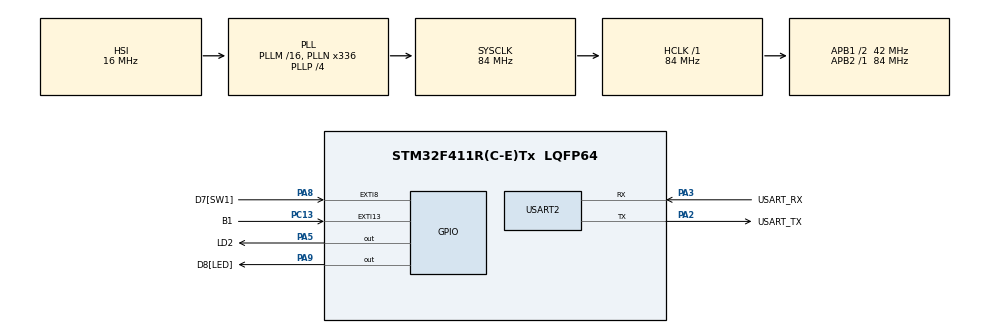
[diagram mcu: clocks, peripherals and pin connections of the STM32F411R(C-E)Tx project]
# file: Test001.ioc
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Mcu.Family=STM32F4
Mcu.Name=STM32F411R(C-E)Tx
Mcu.Package=LQFP64
NVIC.EXTI15_10_IRQn=true\:0\:0\:false\:false\:true\:true\:true\:true
NVIC.EXTI9_5_IRQn=true\:0\:0\:false\:false\:true\:true\:true\:true
NVIC.PriorityGroup=NVIC_PRIORITYGROUP_0
PA13.GPIO_Label=TMS
PA13.Mode=Serial_Wire
PA13.Signal=SYS_JTMS-SWDIO
PA14.GPIO_Label=TCK
PA14.Mode=Serial_Wire
PA14.Signal=SYS_JTCK-SWCLK
PA2.GPIO_Label=USART_TX
PA2.Mode=Asynchronous
PA2.Signal=USART2_TX
PA3.GPIO_Label=USART_RX
PA3.Mode=Asynchronous
PA3.Signal=USART2_RX
PA5.GPIO_Label=LD2 
PA5.Signal=GPIO_Output
PA8.GPIO_Label=D7[SW1]
PA8.Signal=GPXTI8
PA9.GPIO_Label=D8[LED]
PA9.Signal=GPIO_Output
PB3.GPIO_Label=SWO
PB3.Signal=SYS_JTDO-SWO
PC13-ANTI_TAMP.GPIO_Label=B1
PC13-ANTI_TAMP.GPIO_ModeDefaultEXTI=GPIO_MODE_IT_RISING
PC13-ANTI_TAMP.Signal=GPXTI13
PC14-OSC32_IN.Mode=LSE-External-Oscillator
PC14-OSC32_IN.Signal=RCC_OSC32_IN
PC15-OSC32_OUT.Mode=LSE-External-Oscillator
PC15-OSC32_OUT.Signal=RCC_OSC32_OUT
PH0\ -\ OSC_IN.Mode=HSE-External-Clock-Source
PH0\ -\ OSC_IN.Signal=RCC_OSC_IN
PH1\ -\ OSC_OUT.Mode=HSE-External-Clock-Source
PH1\ -\ OSC_OUT.Signal=RCC_OSC_OUT
ProjectManager.HeapSize=0x200
ProjectManager.StackSize=0x400
ProjectManager.TargetToolchain=STM32CubeIDE
RCC.48MHZClocksFreq_Value=84000000
RCC.AHBFreq_Value=84000000
RCC.APB1CLKDivider=RCC_HCLK_DIV2
RCC.APB1Freq_Value=42000000
RCC.APB1TimFreq_Value=84000000
RCC.APB2Freq_Value=84000000
RCC.APB2TimFreq_Value=84000000
RCC.CortexFreq_Value=84000000
RCC.FLatency-AdvancedSettings=FLASH_LATENCY_2
RCC.HCLKFreq_Value=84000000
RCC.HSE_VALUE=8000000
RCC.HSI_VALUE=16000000
RCC.PLLN=336
RCC.PLLP=RCC_PLLP_DIV4
RCC.SYSCLKFreq_VALUE=84000000
RCC.SYSCLKSource=RCC_SYSCLKSOURCE_PLLCLK
RCC.VCOOutputFreq_Value=336000000
USART2.VirtualMode=VM_ASYNC
board=NUCLEO-F411RE

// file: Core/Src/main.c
/* USER CODE BEGIN Header */
/**
  ******************************************************************************
  * @file           : main.c
  * @brief          : Main program body
  ******************************************************************************
  * @attention
  *
  * Copyright (c) 2024 STMicroelectronics.
  * All rights reserved.
  *
  * This software is licensed under terms that can be found in the LICENSE file
  * in the root directory of this software component.
  * If no LICENSE file comes with this software, it is provided AS-IS.
  *
  ******************************************************************************
  */
/* USER CODE END Header */
#include "main.h"

/* USER CODE BEGIN Includes */
#include <stdio.h>
/* USER CODE END Includes */

UART_HandleTypeDef huart2;

void SystemClock_Config(void);
static void MX_GPIO_Init(void);
static void MX_USART2_UART_Init(void);

/* USER CODE BEGIN 0 */
void StandBy()
{
	while(HAL_GPIO_ReadPin(B1_GPIO_Port,B1_Pin));
}

volatile int t=1000;
int mode=0;// mode=0 : Stop, mode=1 : Flash

void HAL_GPIO_EXTI_Callback(uint16_t GPIO_Pin)//ISR
{

	switch(GPIO_Pin)
	{
		case B1_Pin:
			mode = (mode)?0:1;
			break;
		case D7_Pin:
			t=(t<200)?1000:(t-200);
			break;
	}

}
/* USER CODE END 0 */

int main(void)
{

  /* MCU Configuration--------------------------------------------------------*/

  /* Reset of all peripherals, Initializes the Flash interface and the Systick. */
  HAL_Init();

  /* Configure the system clock */
  SystemClock_Config();

  /* Initialize all configured peripherals */
  MX_GPIO_Init();
  MX_USART2_UART_Init();
  /* USER CODE BEGIN 2 */
  StandBy();

  //HAL_GPIO_WritePin(GPIOA,GPIO_PIN_5,1);

  /* USER CODE END 2 */

  /* Infinite loop */
  while (1)
  {

    /* USER CODE BEGIN 3 */
	  if(mode)
	  {
		HAL_GPIO_WritePin(D8_GPIO_Port,D8_Pin,1);
		HAL_Delay(t);
		HAL_GPIO_WritePin(D8_GPIO_Port,D8_Pin,0);
		HAL_Delay(t);
	  }
  }
  /* USER CODE END 3 */
}

void SystemClock_Config(void)
{
  RCC_OscInitTypeDef RCC_OscInitStruct = {0};
  RCC_ClkInitTypeDef RCC_ClkInitStruct = {0};

  /** Configure the main internal regulator output voltage
  */
  __HAL_RCC_PWR_CLK_ENABLE();
  __HAL_PWR_VOLTAGESCALING_CONFIG(PWR_REGULATOR_VOLTAGE_SCALE1);

  /** Initializes the RCC Oscillators according to the specified parameters
  * in the RCC_OscInitTypeDef structure.
  */
  RCC_OscInitStruct.OscillatorType = RCC_OSCILLATORTYPE_HSI;
  RCC_OscInitStruct.HSIState = RCC_HSI_ON;
  RCC_OscInitStruct.HSICalibrationValue = RCC_HSICALIBRATION_DEFAULT;
  RCC_OscInitStruct.PLL.PLLState = RCC_PLL_ON;
  RCC_OscInitStruct.PLL.PLLSource = RCC_PLLSOURCE_HSI;
  RCC_OscInitStruct.PLL.PLLM = 16;
  RCC_OscInitStruct.PLL.PLLN = 336;
  RCC_OscInitStruct.PLL.PLLP = RCC_PLLP_DIV4;
  RCC_OscInitStruct.PLL.PLLQ = 4;
  if (HAL_RCC_OscConfig(&RCC_OscInitStruct) != HAL_OK)
  {
    Error_Handler();
  }

  /** Initializes the CPU, AHB and APB buses clocks
  */
  RCC_ClkInitStruct.ClockType = RCC_CLOCKTYPE_HCLK|RCC_CLOCKTYPE_SYSCLK
                              |RCC_CLOCKTYPE_PCLK1|RCC_CLOCKTYPE_PCLK2;
  RCC_ClkInitStruct.SYSCLKSource = RCC_SYSCLKSOURCE_PLLCLK;
  RCC_ClkInitStruct.AHBCLKDivider = RCC_SYSCLK_DIV1;
  RCC_ClkInitStruct.APB1CLKDivider = RCC_HCLK_DIV2;
  RCC_ClkInitStruct.APB2CLKDivider = RCC_HCLK_DIV1;

  if (HAL_RCC_ClockConfig(&RCC_ClkInitStruct, FLASH_LATENCY_2) != HAL_OK)
  {
    Error_Handler();
  }
}

static void MX_USART2_UART_Init(void)
{

  huart2.Instance = USART2;
  huart2.Init.BaudRate = 115200;
  huart2.Init.WordLength = UART_WORDLENGTH_8B;
  huart2.Init.StopBits = UART_STOPBITS_1;
  huart2.Init.Parity = UART_PARITY_NONE;
  huart2.Init.Mode = UART_MODE_TX_RX;
  huart2.Init.HwFlowCtl = UART_HWCONTROL_NONE;
  huart2.Init.OverSampling = UART_OVERSAMPLING_16;
  if (HAL_UART_Init(&huart2) != HAL_OK)
  {
    Error_Handler();
  }

}

static void MX_GPIO_Init(void)
{
  GPIO_InitTypeDef GPIO_InitStruct = {0};

  /* GPIO Ports Clock Enable */
  __HAL_RCC_GPIOC_CLK_ENABLE();
  __HAL_RCC_GPIOH_CLK_ENABLE();
  __HAL_RCC_GPIOA_CLK_ENABLE();
  __HAL_RCC_GPIOB_CLK_ENABLE();

  /*Configure GPIO pin Output Level */
  HAL_GPIO_WritePin(GPIOA, LD2_Pin|D8_Pin, GPIO_PIN_RESET);

  /*Configure GPIO pin : B1_Pin */
  GPIO_InitStruct.Pin = B1_Pin;
  GPIO_InitStruct.Mode = GPIO_MODE_IT_RISING;
  GPIO_InitStruct.Pull = GPIO_NOPULL;
  HAL_GPIO_Init(B1_GPIO_Port, &GPIO_InitStruct);

  /*Configure GPIO pins : LD2_Pin D8_Pin */
  GPIO_InitStruct.Pin = LD2_Pin|D8_Pin;
  GPIO_InitStruct.Mode = GPIO_MODE_OUTPUT_PP;
  GPIO_InitStruct.Pull = GPIO_NOPULL;
  GPIO_InitStruct.Speed = GPIO_SPEED_FREQ_LOW;
  HAL_GPIO_Init(GPIOA, &GPIO_InitStruct);

  /*Configure GPIO pin : D7_Pin */
  GPIO_InitStruct.Pin = D7_Pin;
  GPIO_InitStruct.Mode = GPIO_MODE_IT_RISING;
  GPIO_InitStruct.Pull = GPIO_NOPULL;
  HAL_GPIO_Init(D7_GPIO_Port, &GPIO_InitStruct);

  /* EXTI interrupt init*/
  HAL_NVIC_SetPriority(EXTI9_5_IRQn, 0, 0);
  HAL_NVIC_EnableIRQ(EXTI9_5_IRQn);

  HAL_NVIC_SetPriority(EXTI15_10_IRQn, 0, 0);
  HAL_NVIC_EnableIRQ(EXTI15_10_IRQn);

}

void Error_Handler(void)
{
  __disable_irq();
  while (1)
  {
  }
}
